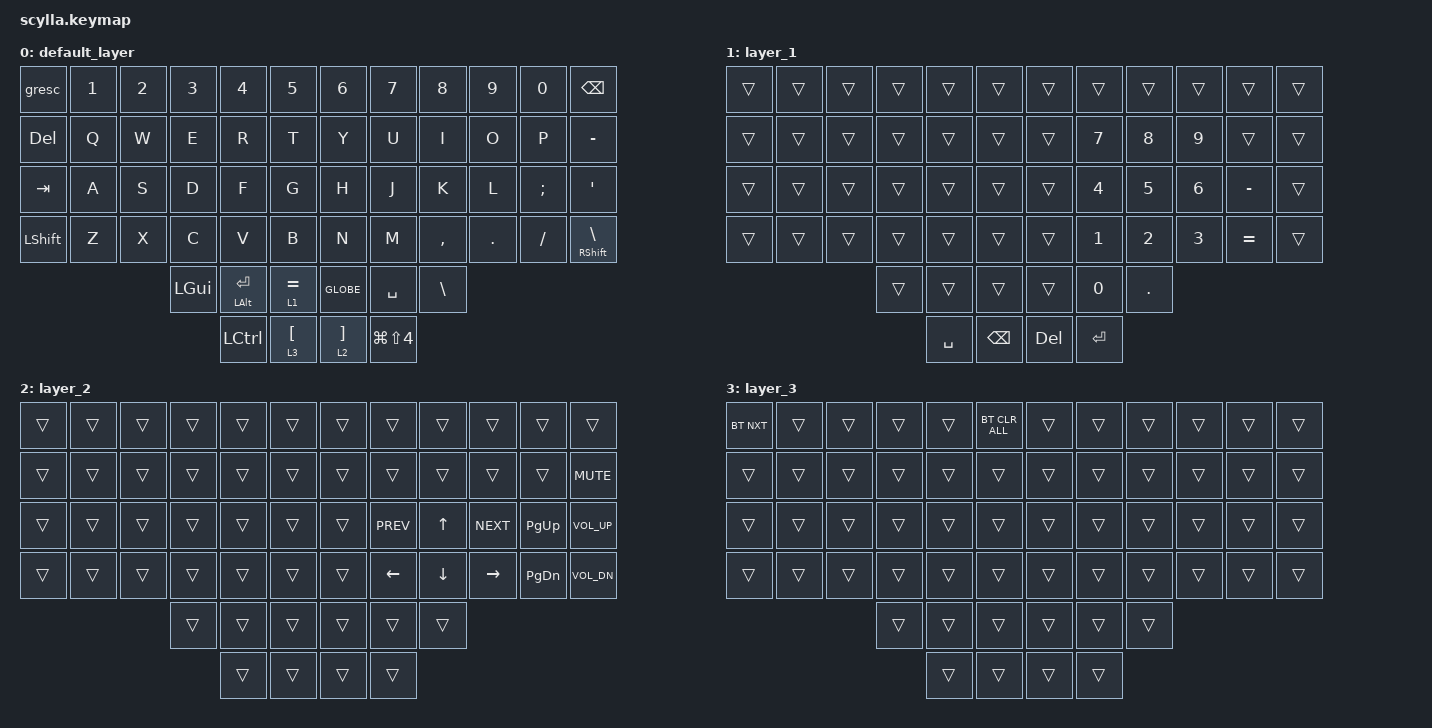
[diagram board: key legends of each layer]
#include <behaviors.dtsi>
#include <dt-bindings/zmk/bt.h>
#include <dt-bindings/zmk/keys.h>

#define DEFAULT 0
#define LWR 1
#define RSE 2
#define ADJ 3

/ {
    keymap {
        compatible = "zmk,keymap";

        default_layer {
            bindings = <
&gresc          &kp N1  &kp N2  &kp N3        &kp N4              &kp N5                &kp N6               &kp N7                &kp N8         &kp N9   &kp N0    &kp BSPC
&kp DEL         &kp Q   &kp W   &kp E         &kp R               &kp T                 &kp Y                &kp U                 &kp I          &kp O    &kp P     &kp MINUS
&kp TAB         &kp A   &kp S   &kp D         &kp F               &kp G                 &kp H                &kp J                 &kp K          &kp L    &kp SEMI  &kp SQT
&kp LEFT_SHIFT  &kp Z   &kp X   &kp C         &kp V               &kp B                 &kp N                &kp M                 &kp COMMA      &kp DOT  &kp FSLH  &mt RIGHT_SHIFT BACKSLASH
                                &kp LEFT_GUI  &mt LEFT_ALT ENTER  &lt 1 EQUAL           &kp GLOBE            &kp SPACE             &kp BACKSLASH
                                              &kp LCTRL           &lt 3 LEFT_BRACKET    &lt 2 RIGHT_BRACKET  &kp LG(LS(NUMBER_4))
            >;
        };

        layer_1 {
            bindings = <
&trans  &trans  &trans  &trans  &trans     &trans      &trans      &trans     &trans   &trans  &trans     &trans
&trans  &trans  &trans  &trans  &trans     &trans      &trans      &kp N7     &kp N8   &kp N9  &trans     &trans
&trans  &trans  &trans  &trans  &trans     &trans      &trans      &kp N4     &kp N5   &kp N6  &kp MINUS  &trans
&trans  &trans  &trans  &trans  &trans     &trans      &trans      &kp N1     &kp N2   &kp N3  &kp EQUAL  &trans
                        &trans  &trans     &trans      &trans      &kp N0     &kp DOT
                                &kp SPACE  &kp BSPC    &kp DELETE  &kp ENTER
            >;
        };

        layer_2 {
            bindings = <
&trans  &trans  &trans  &trans  &trans  &trans    &trans  &trans      &trans          &trans      &trans         &trans
&trans  &trans  &trans  &trans  &trans  &trans    &trans  &trans      &trans          &trans      &trans         &kp K_MUTE
&trans  &trans  &trans  &trans  &trans  &trans    &trans  &kp K_PREV  &kp UP_ARROW    &kp K_NEXT  &kp PAGE_UP    &kp C_VOLUME_UP
&trans  &trans  &trans  &trans  &trans  &trans    &trans  &kp LEFT    &kp DOWN_ARROW  &kp RIGHT   &kp PAGE_DOWN  &kp C_VOL_DN
                        &trans  &trans  &trans    &trans  &trans      &trans
                                &trans  &trans    &trans  &trans
            >;
        };

        layer_3 {
            bindings = <
&bt BT_NXT  &trans  &trans  &trans  &trans  &bt BT_CLR_ALL    &trans  &trans  &trans  &trans  &trans  &trans
&trans      &trans  &trans  &trans  &trans  &trans            &trans  &trans  &trans  &trans  &trans  &trans
&trans      &trans  &trans  &trans  &trans  &trans            &trans  &trans  &trans  &trans  &trans  &trans
&trans      &trans  &trans  &trans  &trans  &trans            &trans  &trans  &trans  &trans  &trans  &trans
                            &trans  &trans  &trans            &trans  &trans  &trans
                                    &trans  &trans            &trans  &trans
            >;
        };
    };
};
